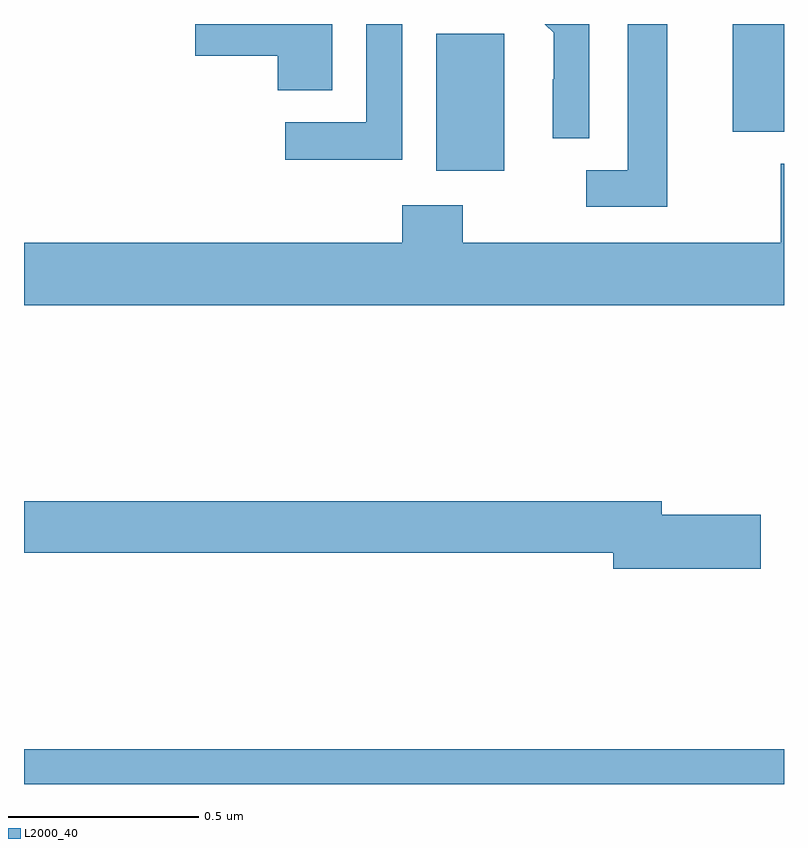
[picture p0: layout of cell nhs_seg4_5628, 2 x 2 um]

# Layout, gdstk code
import gdstk
lib = gdstk.Library(unit=1e-6, precision=1e-09)
def R(c, l, rs):  # rectangles x0, y0, x1, y1
    for r in rs: c.add(gdstk.rectangle(r[:2], r[2:], *l))
def P(c, l, *ps):  # polygons
    for p in ps: c.add(gdstk.Polygon(p, *l))
L2000_40 = (2000, 40)

nhs_seg4_5628 = lib.new_cell('nhs_seg4_5628')
R(nhs_seg4_5628, L2000_40, [(180,788.9,182,788.992), (181.085,790.514,181.264,790.875), (181.865,790.617,182,790.9)])
P(nhs_seg4_5628, L2000_40, [(180.996,790.9),(180.9,790.9),(180.9,790.641),(180.687,790.641),(180.687,790.543),(180.996,790.543)],
  [(181.488,790.9),(181.371,790.9),(181.394,790.877),(181.394,790.754),(181.392,790.754),(181.392,790.6),(181.488,790.6)],
  [(181.693,790.9),(181.589,790.9),(181.589,790.515),(181.479,790.515),(181.479,790.419),(181.693,790.419)],
  [(180.811,790.9),(180.45,790.9),(180.45,790.817),(180.668,790.817),(180.668,790.726),(180.811,790.726)],
  [(182,790.532),(181.991,790.532),(181.991,790.324),(181.155,790.324),(181.155,790.423),(180.995,790.423),(180.995,790.324),(180,790.324),(180,790.16),(182,790.16)],
  [(181.939,789.608),(181.678,789.608),(181.678,789.644),(180,789.644),(180,789.508),(181.55,789.508),(181.55,789.466),(181.939,789.466)])

lib.write_gds('nhs_seg4_5628.gds')
